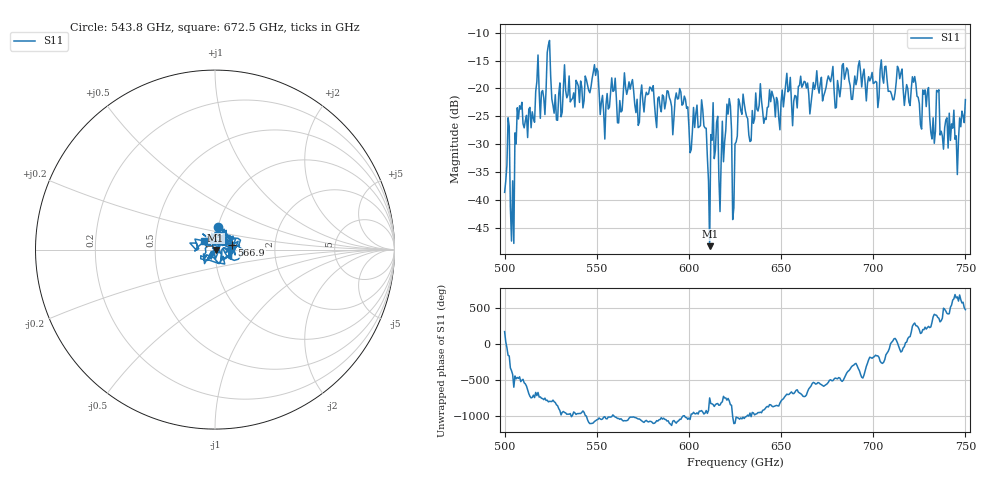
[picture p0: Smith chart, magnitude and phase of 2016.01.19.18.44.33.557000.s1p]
!Created with skrf (http://scikit-rf.org).
# GHz S RI R 50.0
!freq ReS11 ImS11
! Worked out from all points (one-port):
!   401 points, 500 GHz to 750 GHz, reference 50 ohm
!   lowest |S11| = -48.3 dB at 611.2 GHz (marker M1), VSWR 1.01, Z = 50.3 - j0.212 ohm
!   |S11| at or under -10 dB: start of sweep to end of sweep
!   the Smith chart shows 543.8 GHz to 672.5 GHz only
!   S11 on the Smith chart (normalised r, x): 543.8 GHz: 1.00, +0.26; 566.9 GHz: 1.21, +0.07; 672.5 GHz: 0.88, +0.09
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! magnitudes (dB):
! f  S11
! 500 GHz  -38.6
! 501.2 GHz  -33.8
! 504.4 GHz  -36.6
! 508.1 GHz  -23.1
! 520.6 GHz  -20.4
! 523.8 GHz  -12.2
! 527.5 GHz  -21.1
! 531.2 GHz  -24.3
! 543.8 GHz  -17.8
! 549.4 GHz  -17.7
! 562.5 GHz  -22.2
! 566.9 GHz  -20.1
! 593.8 GHz  -21.9
! 600.6 GHz  -31.5
! 608.1 GHz  -26.7
! 611.2 GHz  -48.3
! 614.4 GHz  -31.0
! 617.5 GHz  -32.8
! 621.2 GHz  -24.6
! 625 GHz  -29.9
! 628.1 GHz  -23.9
! 632.5 GHz  -28.3
! 656.2 GHz  -26.7
! 672.5 GHz  -22.2
! 687.5 GHz  -19.5
! 718.8 GHz  -20.0
! 745.6 GHz  -35.4
! 750 GHz  -22.0
